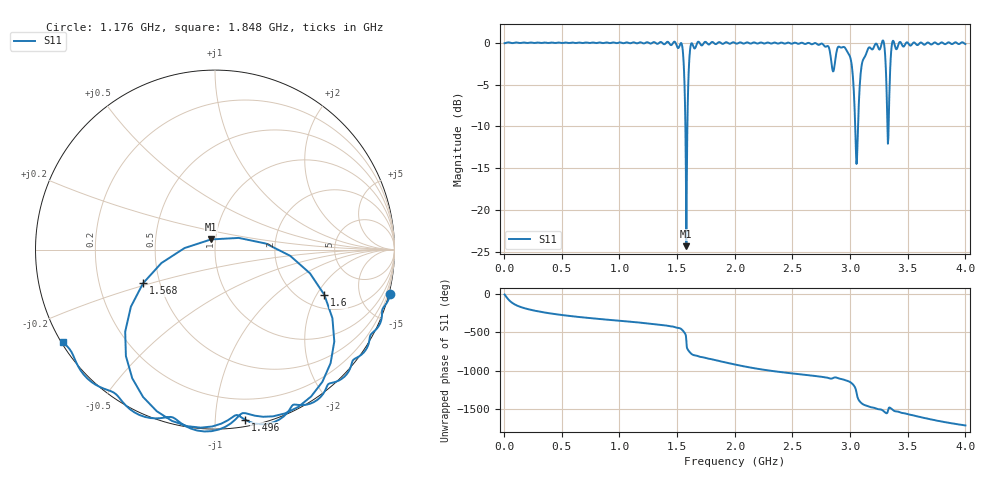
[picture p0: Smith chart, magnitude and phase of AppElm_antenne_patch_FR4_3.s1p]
! TOUCHSTONE file generated by CST MICROWAVE STUDIO
! Date and time: Tue Jun  7 19:07:16 2022
! Project name: AppElm_antenne_patch_FR4.cst
! Parameters = {L=45; W=49.725; e=0.035; h=1.6; lambda=0.190476; ls=120; w0=1.6; w1=0.533333; ws=120; y0=20; y1=23.8095}
! Header version: 2018
! Port assignment regex: !\s*Touchstone port\s*([0-9]+)\s*=\s*(CST MWS port|CST DS port)\s*([0-9]+|Zmin|Zmax)\s*\(\"(.*)\"\)(\s*mode\s*([0-9]+))?.*
! Touchstone port assignment:
! Touchstone port 1 = CST MWS port 1 ("")
# GHz S MA R 50
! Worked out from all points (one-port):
!   1000 points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, 4 MHz to 4 GHz, reference 50 ohm
!   lowest |S11| = -24.3 dB at 1.58 GHz (marker M1), VSWR 1.13, Z = 47.5 + j5.39 ohm
!   |S11| at or under -10 dB: 1.572 GHz to 1.589 GHz (17.34 MHz wide, 1.1 % of centre); 3.044 GHz to 3.069 GHz (24.3 MHz wide, 0.795 % of centre); 3.323757 GHz to 3.334146 GHz (10.39 MHz wide, 0.312 % of centre)
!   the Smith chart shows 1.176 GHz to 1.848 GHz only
!   S11 on the Smith chart (normalised r, x): 1.176 GHz: -0.17, -7.96; 1.496 GHz: 0.05, -1.19; 1.568 GHz: 0.40, -0.19; 1.6 GHz: 2.61, -2.33; 1.848 GHz: 0.00, -0.28
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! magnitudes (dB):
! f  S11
! 4 MHz  -0.1
! 504 MHz  0.0
! 1.004 GHz  0.0
! 1.176 GHz  0.0
! 1.496 GHz  -0.3
! 1.504 GHz  -0.6
! 1.544 GHz  -0.4
! 1.568 GHz  -7.1
! 1.58 GHz  -24.3
! 1.6 GHz  -3.6
! 1.612 GHz  -0.9
! 1.628 GHz  -0.1
! 1.848 GHz  -0.1
! 2.004 GHz  0.0
! 2.504 GHz  -0.1
! 2.796 GHz  -0.4
! 2.852 GHz  -3.4
! 2.94 GHz  -0.5
! 3.004 GHz  -1.9
! 3.056 GHz  -14.5
! 3.068 GHz  -10.3
! 3.1 GHz  -2.7
! 3.152 GHz  -0.8
! 3.284 GHz  0.3
! 3.328 GHz  -12.1
! 3.372 GHz  0.2
! 3.504 GHz  -0.1
! 4 GHz  -0.2
